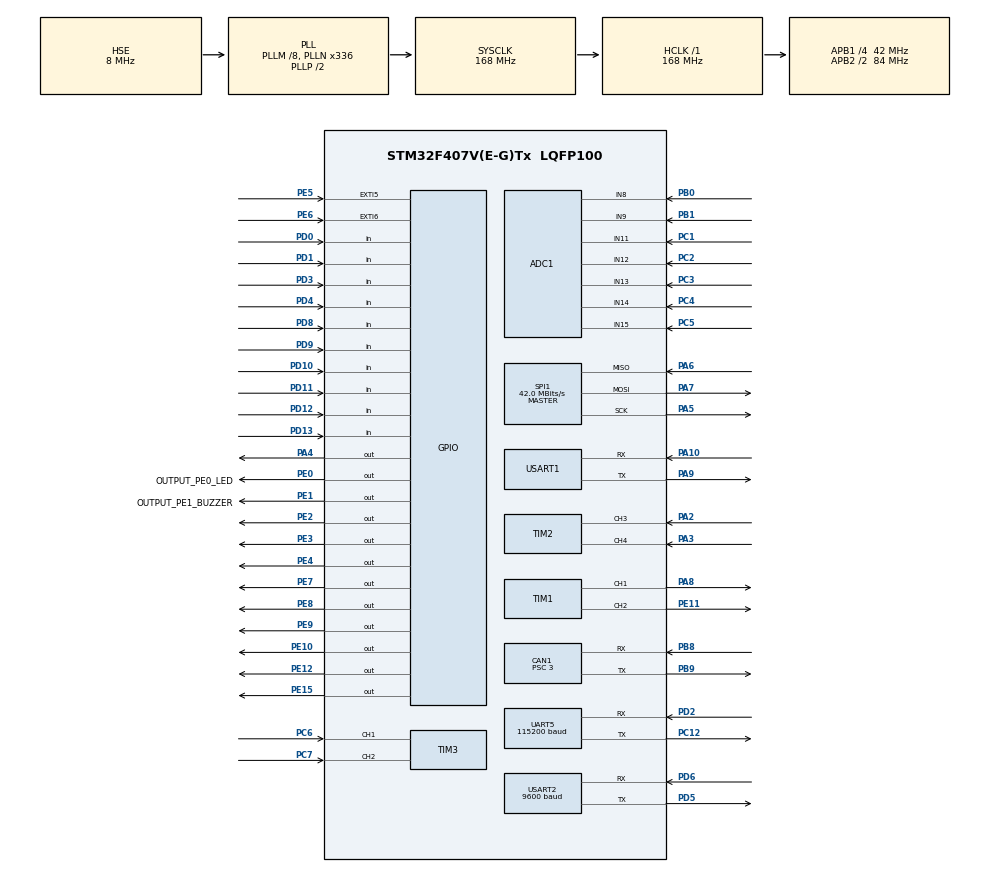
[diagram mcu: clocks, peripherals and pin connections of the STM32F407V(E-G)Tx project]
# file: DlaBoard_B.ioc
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ADC1.Channel-0\#ChannelRegularConversion=ADC_CHANNEL_8
ADC1.NbrOfConversionFlag=1
ADC1.Rank-0\#ChannelRegularConversion=1
ADC1.SamplingTime-0\#ChannelRegularConversion=ADC_SAMPLETIME_3CYCLES
ADC1.master=1
CAN1.ABOM=ENABLE
CAN1.AWUM=DISABLE
CAN1.BS1=CAN_BS1_11TQ
CAN1.BS2=CAN_BS2_2TQ
CAN1.CalculateBaudRate=1000000
CAN1.CalculateTimeBit=1000
CAN1.CalculateTimeQuantum=71.42857142857143
CAN1.NART=ENABLE
CAN1.Prescaler=3
CAN1.TTCM=DISABLE
Mcu.Family=STM32F4
Mcu.Name=STM32F407V(E-G)Tx
Mcu.Package=LQFP100
NVIC.PriorityGroup=NVIC_PRIORITYGROUP_4
PA0-WKUP.Signal=S_TIM2_CH1_ETR
PA1.Signal=S_TIM2_CH2
PA10.Mode=Asynchronous
PA10.Signal=USART1_RX
PA13.Signal=SYS_JTMS-SWDIO
PA14.Signal=SYS_JTCK-SWCLK
PA2.Signal=S_TIM2_CH3
PA3.Signal=S_TIM2_CH4
PA4.Signal=GPIO_Output
PA5.Mode=Full_Duplex_Master
PA5.Signal=SPI1_SCK
PA6.Mode=Full_Duplex_Master
PA6.Signal=SPI1_MISO
PA7.Mode=Full_Duplex_Master
PA7.Signal=SPI1_MOSI
PA8.Signal=S_TIM1_CH1
PA9.Mode=Asynchronous
PA9.Signal=USART1_TX
PB0.Signal=ADCx_IN8
PB1.Signal=ADCx_IN9
PB10.Signal=I2C2_SCL
PB11.Signal=I2C2_SDA
PB12.Signal=SPI2_NSS
PB13.Signal=SPI2_SCK
PB14.Signal=SPI2_MISO
PB15.Signal=SPI2_MOSI
PB6.Signal=I2C1_SCL
PB7.Signal=I2C1_SDA
PB8.Mode=CAN_Activate
PB8.Signal=CAN1_RX
PB9.Mode=CAN_Activate
PB9.Signal=CAN1_TX
PC1.Signal=ADCx_IN11
PC10.Signal=USART3_TX
PC11.Signal=USART3_RX
PC12.Mode=Asynchronous
PC12.Signal=UART5_TX
PC14-OSC32_IN.Signal=RCC_OSC32_IN
PC15-OSC32_OUT.Signal=RCC_OSC32_OUT
PC2.Signal=ADCx_IN12
PC3.Signal=ADCx_IN13
PC4.Signal=ADCx_IN14
PC5.Signal=ADCx_IN15
PC6.Signal=S_TIM3_CH1
PC7.Signal=S_TIM3_CH2
PC8.Signal=S_TIM3_CH3
PC9.Signal=S_TIM3_CH4
PD0.Signal=GPIO_Input
PD1.Signal=GPIO_Input
PD10.Signal=GPIO_Input
PD11.Signal=GPIO_Input
PD12.Signal=GPIO_Input
PD13.Signal=GPIO_Input
PD14.Signal=S_TIM4_CH3
PD15.Signal=S_TIM4_CH4
PD2.Mode=Asynchronous
PD2.Signal=UART5_RX
PD3.Signal=GPIO_Input
PD4.Signal=GPIO_Input
PD5.Mode=Asynchronous
PD5.Signal=USART2_TX
PD6.Mode=Asynchronous
PD6.Signal=USART2_RX
PD8.Signal=GPIO_Input
PD9.Signal=GPIO_Input
PE0.GPIO_Label=OUTPUT_PE0_LED
PE0.PinState=GPIO_PIN_SET
PE0.Signal=GPIO_Output
PE1.GPIO_Label=OUTPUT_PE1_BUZZER
PE1.PinState=GPIO_PIN_RESET
PE1.Signal=GPIO_Output
PE10.Signal=GPIO_Output
PE11.Signal=S_TIM1_CH2
PE12.Signal=GPIO_Output
PE13.Signal=S_TIM1_CH3
PE14.Signal=S_TIM1_CH4
PE15.Signal=GPIO_Output
PE2.Signal=GPIO_Output
PE3.Signal=GPIO_Output
PE4.Signal=GPIO_Output
PE5.Signal=GPXTI5
PE6.Signal=GPXTI6
PE7.Signal=GPIO_Output
PE8.Signal=GPIO_Output
PE9.Signal=GPIO_Output
PH0-OSC_IN.Mode=HSE-External-Oscillator
PH0-OSC_IN.Signal=RCC_OSC_IN
PH1-OSC_OUT.Mode=HSE-External-Oscillator
PH1-OSC_OUT.Signal=RCC_OSC_OUT
ProjectManager.HeapSize=0x200
ProjectManager.StackSize=0x400
ProjectManager.TargetToolchain=STM32CubeIDE
RCC.48MHZClocksFreq_Value=84000000
RCC.AHBFreq_Value=168000000
RCC.APB1CLKDivider=RCC_HCLK_DIV4
RCC.APB1Freq_Value=42000000
RCC.APB1TimFreq_Value=84000000
RCC.APB2CLKDivider=RCC_HCLK_DIV2
RCC.APB2Freq_Value=84000000
RCC.APB2TimFreq_Value=168000000
RCC.CortexFreq_Value=168000000
RCC.HCLKFreq_Value=168000000
RCC.HSE_VALUE=8000000
RCC.HSI_VALUE=16000000
RCC.LSE_VALUE=32768
RCC.PLLM=8
RCC.PLLN=336
RCC.PLLSourceVirtual=RCC_PLLSOURCE_HSE
RCC.SYSCLKFreq_VALUE=168000000
RCC.SYSCLKSource=RCC_SYSCLKSOURCE_PLLCLK
RCC.VCOOutputFreq_Value=336000000
SH.ADCx_IN11.0=ADC1_IN11,IN11
SH.ADCx_IN12.0=ADC1_IN12,IN12
SH.ADCx_IN13.0=ADC1_IN13,IN13
SH.ADCx_IN14.0=ADC1_IN14,IN14
SH.ADCx_IN15.0=ADC1_IN15,IN15
SH.ADCx_IN8.0=ADC1_IN8,IN8
SH.ADCx_IN9.0=ADC1_IN9,IN9
SH.S_TIM1_CH1.0=TIM1_CH1,PWM Generation1 CH1
SH.S_TIM1_CH2.0=TIM1_CH2,PWM Generation2 CH2
SH.S_TIM1_CH3.0=TIM1_CH3
SH.S_TIM1_CH4.0=TIM1_CH4
SH.S_TIM2_CH1_ETR.0=TIM2_CH1
SH.S_TIM2_CH2.0=TIM2_CH2
SH.S_TIM2_CH3.0=TIM2_CH3,Input_Capture3_from_TI3
SH.S_TIM2_CH4.0=TIM2_CH4,Input_Capture4_from_TI4
SH.S_TIM3_CH1.0=TIM3_CH1,Input_Capture1_from_TI1
SH.S_TIM3_CH2.0=TIM3_CH2,Input_Capture2_from_TI2
SH.S_TIM3_CH3.0=TIM3_CH3
SH.S_TIM3_CH4.0=TIM3_CH4
SH.S_TIM4_CH3.0=TIM4_CH3
SH.S_TIM4_CH4.0=TIM4_CH4
SPI1.BaudRatePrescaler=SPI_BAUDRATEPRESCALER_2
SPI1.CalculateBaudRate=42.0 MBits/s
SPI1.Direction=SPI_DIRECTION_2LINES
SPI1.Mode=SPI_MODE_MASTER
SPI1.VirtualType=VM_MASTER
TIM1.Channel-PWM\ Generation1\ CH1=TIM_CHANNEL_1
TIM1.Channel-PWM\ Generation2\ CH2=TIM_CHANNEL_2
TIM2.Channel-Input_Capture3_from_TI3=TIM_CHANNEL_3
TIM2.Channel-Input_Capture4_from_TI4=TIM_CHANNEL_4
TIM3.Channel-Input_Capture1_from_TI1=TIM_CHANNEL_1
TIM3.Channel-Input_Capture2_from_TI2=TIM_CHANNEL_2
UART5.BaudRate=115200
UART5.VirtualMode=Asynchronous
USART1.VirtualMode=VM_ASYNC
USART2.BaudRate=9600
USART2.VirtualMode=VM_ASYNC
VP_TIM1_VS_ClockSourceINT.Mode=Internal
VP_TIM2_VS_ClockSourceINT.Mode=Internal
VP_TIM3_VS_ClockSourceINT.Mode=Internal
board=custom

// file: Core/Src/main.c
/* USER CODE BEGIN Header */
/**
  ******************************************************************************
  * @file           : main.c
  * @brief          : Main program body
  ******************************************************************************
  * @attention
  *
  * Copyright (c) 2026 STMicroelectronics.
  * All rights reserved.
  *
  * This software is licensed under terms that can be found in the LICENSE file
  * in the root directory of this software component.
  * If no LICENSE file comes with this software, it is provided AS-IS.
  *
  ******************************************************************************
  */
/* USER CODE END Header */
#include "main.h"

/* USER CODE BEGIN Includes */
#include "dla_cart_app.h"
#include "board_inputs.h"
#include "selftest.h"
/* USER CODE END Includes */

ADC_HandleTypeDef hadc1;

CAN_HandleTypeDef hcan1;

SPI_HandleTypeDef hspi1;

TIM_HandleTypeDef htim1;
TIM_HandleTypeDef htim2;
TIM_HandleTypeDef htim3;

UART_HandleTypeDef huart5;
UART_HandleTypeDef huart1;
UART_HandleTypeDef huart2;

void SystemClock_Config(void);
static void MX_GPIO_Init(void);
static void MX_ADC1_Init(void);
static void MX_CAN1_Init(void);
static void MX_TIM1_Init(void);
static void MX_SPI1_Init(void);
static void MX_USART1_UART_Init(void);
static void MX_USART2_UART_Init(void);
static void MX_TIM3_Init(void);
static void MX_TIM2_Init(void);
static void MX_UART5_Init(void);

/* USER CODE BEGIN 0 */

/* 不再经 USART1 打印调试；保留桩避免误用 printf 时走 syscalls 出问题 */
int __io_putchar(int ch)
{
  (void)ch;
  return ch;
}

/* USER CODE END 0 */

int main(void)
{

  /* MCU Configuration--------------------------------------------------------*/

  /* Reset of all peripherals, Initializes the Flash interface and the Systick. */
  HAL_Init();

  /* Configure the system clock */
  SystemClock_Config();

  /* USER CODE BEGIN SysInit */
  /* 尽早启动看门狗：这样连 MX_*_Init 失败落进 Error_Handler() 的死循环
   * 也能被咬醒。IWDG 由 LSI 驱动、和中断无关，Error_Handler 里的
   * __disable_irq() 拦不住它。超时取值与理由见 dla_cart_app.c。 */
  Board_WatchdogInit();
  /* USER CODE END SysInit */

  /* Initialize all configured peripherals */
  MX_GPIO_Init();
  MX_ADC1_Init();
  MX_CAN1_Init();
  MX_TIM1_Init();
  MX_SPI1_Init();
  MX_USART1_UART_Init();
  MX_USART2_UART_Init();
  MX_TIM3_Init();
  MX_TIM2_Init();
  MX_UART5_Init();
  /* USER CODE BEGIN 2 */
#ifdef SELFTEST_BUILD
  SelfTest_Run();   /* 自测固件入口，不返回；仅 -DSELFTEST_BUILD 时编译 */
#endif
  DlaCart_AppInit();
  /* USER CODE END 2 */

  /* Infinite loop */
  while (1)
  {

    /* USER CODE BEGIN 3 */
    DlaCart_AppLoopIteration();
  }
  /* USER CODE END 3 */
}

void SystemClock_Config(void)
{
  RCC_OscInitTypeDef RCC_OscInitStruct = {0};
  RCC_ClkInitTypeDef RCC_ClkInitStruct = {0};

  /** Configure the main internal regulator output voltage
  */
  __HAL_RCC_PWR_CLK_ENABLE();
  __HAL_PWR_VOLTAGESCALING_CONFIG(PWR_REGULATOR_VOLTAGE_SCALE1);

  /** Initializes the RCC Oscillators according to the specified parameters
  * in the RCC_OscInitTypeDef structure.
  */
  RCC_OscInitStruct.OscillatorType = RCC_OSCILLATORTYPE_HSE;
  RCC_OscInitStruct.HSEState = RCC_HSE_ON;
  RCC_OscInitStruct.PLL.PLLState = RCC_PLL_ON;
  RCC_OscInitStruct.PLL.PLLSource = RCC_PLLSOURCE_HSE;
  RCC_OscInitStruct.PLL.PLLM = 8;
  RCC_OscInitStruct.PLL.PLLN = 336;
  RCC_OscInitStruct.PLL.PLLP = RCC_PLLP_DIV2;
  RCC_OscInitStruct.PLL.PLLQ = 4;
  if (HAL_RCC_OscConfig(&RCC_OscInitStruct) != HAL_OK)
  {
    Error_Handler();
  }

  /** Initializes the CPU, AHB and APB buses clocks
  */
  RCC_ClkInitStruct.ClockType = RCC_CLOCKTYPE_HCLK|RCC_CLOCKTYPE_SYSCLK
                              |RCC_CLOCKTYPE_PCLK1|RCC_CLOCKTYPE_PCLK2;
  RCC_ClkInitStruct.SYSCLKSource = RCC_SYSCLKSOURCE_PLLCLK;
  RCC_ClkInitStruct.AHBCLKDivider = RCC_SYSCLK_DIV1;
  RCC_ClkInitStruct.APB1CLKDivider = RCC_HCLK_DIV4;
  RCC_ClkInitStruct.APB2CLKDivider = RCC_HCLK_DIV2;

  if (HAL_RCC_ClockConfig(&RCC_ClkInitStruct, FLASH_LATENCY_5) != HAL_OK)
  {
    Error_Handler();
  }
}

static void MX_ADC1_Init(void)
{

  ADC_ChannelConfTypeDef sConfig = {0};

  /** Configure the global features of the ADC (Clock, Resolution, Data Alignment and number of conversion)
  */
  hadc1.Instance = ADC1;
  hadc1.Init.ClockPrescaler = ADC_CLOCK_SYNC_PCLK_DIV4;
  hadc1.Init.Resolution = ADC_RESOLUTION_12B;
  hadc1.Init.ScanConvMode = DISABLE;
  hadc1.Init.ContinuousConvMode = DISABLE;
  hadc1.Init.DiscontinuousConvMode = DISABLE;
  hadc1.Init.ExternalTrigConvEdge = ADC_EXTERNALTRIGCONVEDGE_NONE;
  hadc1.Init.ExternalTrigConv = ADC_SOFTWARE_START;
  hadc1.Init.DataAlign = ADC_DATAALIGN_RIGHT;
  hadc1.Init.NbrOfConversion = 1;
  hadc1.Init.DMAContinuousRequests = DISABLE;
  hadc1.Init.EOCSelection = ADC_EOC_SINGLE_CONV;
  if (HAL_ADC_Init(&hadc1) != HAL_OK)
  {
    Error_Handler();
  }

  /** Configure for the selected ADC regular channel its corresponding rank in the sequencer and its sample time.
  */
  sConfig.Channel = ADC_CHANNEL_8;
  sConfig.Rank = 1;
  sConfig.SamplingTime = ADC_SAMPLETIME_3CYCLES;
  if (HAL_ADC_ConfigChannel(&hadc1, &sConfig) != HAL_OK)
  {
    Error_Handler();
  }
  /* USER CODE BEGIN ADC1_Init 2 */
  hadc1.Init.ContinuousConvMode = ENABLE;
  if (HAL_ADC_Init(&hadc1) != HAL_OK)
  {
    Error_Handler();
  }
  sConfig.Channel = ADC_CHANNEL_8;
  sConfig.Rank = 1;
  sConfig.SamplingTime = ADC_SAMPLETIME_56CYCLES;
  if (HAL_ADC_ConfigChannel(&hadc1, &sConfig) != HAL_OK)
  {
    Error_Handler();
  }
  /* USER CODE END ADC1_Init 2 */

}

static void MX_CAN1_Init(void)
{

  hcan1.Instance = CAN1;
  hcan1.Init.Prescaler = 3;
  hcan1.Init.Mode = CAN_MODE_NORMAL;
  hcan1.Init.SyncJumpWidth = CAN_SJW_1TQ;
  hcan1.Init.TimeSeg1 = CAN_BS1_11TQ;
  hcan1.Init.TimeSeg2 = CAN_BS2_2TQ;
  hcan1.Init.TimeTriggeredMode = DISABLE;
  hcan1.Init.AutoBusOff = ENABLE;
  hcan1.Init.AutoWakeUp = DISABLE;
  /*
   * NART: 一帧发不出去就丢掉，不要一直重传。
   *
   * 0x210 是 20ms 的周期性控制帧 —— 它的价值全在"新"上。开着自动重传时，
   * 总线上没有别的节点应答(驱动板掉电、接头脱开、总线短路)会让三个发送
   * 邮箱被前三帧永久占住反复重传，之后每一次 AddTxMessage 都返回 HAL_ERROR。
   * 于是司机踩下刹车、循环打包出 brake=1 的帧，**每一帧都在上线之前就被丢掉**；
   * 等总线恢复，最先发出去的还是故障那一刻锁在邮箱里的陈旧帧(比如
   * throttle=600, brake=0)。
   *
   * 关掉之后，发不出去的帧一次就作废，邮箱立刻腾给下一帧更新的命令。
   * 单帧丢失的代价：下游超时是 300ms，要连丢 15 帧才够得着，
   * 而每一帧都是完整的当前状态，不是增量。
   */
  hcan1.Init.AutoRetransmission = DISABLE;
  hcan1.Init.ReceiveFifoLocked = DISABLE;
  hcan1.Init.TransmitFifoPriority = DISABLE;
  if (HAL_CAN_Init(&hcan1) != HAL_OK)
  {
    Error_Handler();
  }
  /* USER CODE BEGIN CAN1_Init 2 */
  {
    CAN_FilterTypeDef sFilterConfig;
    sFilterConfig.FilterBank = 0;
    sFilterConfig.FilterMode = CAN_FILTERMODE_IDMASK;
    sFilterConfig.FilterScale = CAN_FILTERSCALE_32BIT;
    sFilterConfig.FilterIdHigh = 0x0000;
    sFilterConfig.FilterIdLow = 0x0000;
    sFilterConfig.FilterMaskIdHigh = 0x0000;
    sFilterConfig.FilterMaskIdLow = 0x0000;
    sFilterConfig.FilterFIFOAssignment = CAN_RX_FIFO0;
    sFilterConfig.FilterActivation = ENABLE;
    sFilterConfig.SlaveStartFilterBank = 14;
    if (HAL_CAN_ConfigFilter(&hcan1, &sFilterConfig) != HAL_OK)
    {
      Error_Handler();
    }
    if (HAL_CAN_Start(&hcan1) != HAL_OK)
    {
      Error_Handler();
    }
  }
  /* USER CODE END CAN1_Init 2 */

}

static void MX_SPI1_Init(void)
{

  /* SPI1 parameter configuration*/
  hspi1.Instance = SPI1;
  hspi1.Init.Mode = SPI_MODE_MASTER;
  hspi1.Init.Direction = SPI_DIRECTION_2LINES;
  hspi1.Init.DataSize = SPI_DATASIZE_8BIT;
  hspi1.Init.CLKPolarity = SPI_POLARITY_LOW;
  hspi1.Init.CLKPhase = SPI_PHASE_1EDGE;
  hspi1.Init.NSS = SPI_NSS_SOFT;
  hspi1.Init.BaudRatePrescaler = SPI_BAUDRATEPRESCALER_2;
  hspi1.Init.FirstBit = SPI_FIRSTBIT_MSB;
  hspi1.Init.TIMode = SPI_TIMODE_DISABLE;
  hspi1.Init.CRCCalculation = SPI_CRCCALCULATION_DISABLE;
  hspi1.Init.CRCPolynomial = 10;
  if (HAL_SPI_Init(&hspi1) != HAL_OK)
  {
    Error_Handler();
  }

}

static void MX_TIM1_Init(void)
{

  TIM_ClockConfigTypeDef sClockSourceConfig = {0};
  TIM_MasterConfigTypeDef sMasterConfig = {0};
  TIM_OC_InitTypeDef sConfigOC = {0};
  TIM_BreakDeadTimeConfigTypeDef sBreakDeadTimeConfig = {0};

  htim1.Instance = TIM1;
  htim1.Init.Prescaler = 0;
  htim1.Init.CounterMode = TIM_COUNTERMODE_UP;
  htim1.Init.Period = 65535;
  htim1.Init.ClockDivision = TIM_CLOCKDIVISION_DIV1;
  htim1.Init.RepetitionCounter = 0;
  htim1.Init.AutoReloadPreload = TIM_AUTORELOAD_PRELOAD_DISABLE;
  if (HAL_TIM_Base_Init(&htim1) != HAL_OK)
  {
    Error_Handler();
  }
  sClockSourceConfig.ClockSource = TIM_CLOCKSOURCE_INTERNAL;
  if (HAL_TIM_ConfigClockSource(&htim1, &sClockSourceConfig) != HAL_OK)
  {
    Error_Handler();
  }
  if (HAL_TIM_PWM_Init(&htim1) != HAL_OK)
  {
    Error_Handler();
  }
  sMasterConfig.MasterOutputTrigger = TIM_TRGO_RESET;
  sMasterConfig.MasterSlaveMode = TIM_MASTERSLAVEMODE_DISABLE;
  if (HAL_TIMEx_MasterConfigSynchronization(&htim1, &sMasterConfig) != HAL_OK)
  {
    Error_Handler();
  }
  sConfigOC.OCMode = TIM_OCMODE_PWM1;
  sConfigOC.Pulse = 0;
  sConfigOC.OCPolarity = TIM_OCPOLARITY_HIGH;
  sConfigOC.OCNPolarity = TIM_OCNPOLARITY_HIGH;
  sConfigOC.OCFastMode = TIM_OCFAST_DISABLE;
  sConfigOC.OCIdleState = TIM_OCIDLESTATE_RESET;
  sConfigOC.OCNIdleState = TIM_OCNIDLESTATE_RESET;
  if (HAL_TIM_PWM_ConfigChannel(&htim1, &sConfigOC, TIM_CHANNEL_1) != HAL_OK)
  {
    Error_Handler();
  }
  if (HAL_TIM_PWM_ConfigChannel(&htim1, &sConfigOC, TIM_CHANNEL_2) != HAL_OK)
  {
    Error_Handler();
  }
  sBreakDeadTimeConfig.OffStateRunMode = TIM_OSSR_DISABLE;
  sBreakDeadTimeConfig.OffStateIDLEMode = TIM_OSSI_DISABLE;
  sBreakDeadTimeConfig.LockLevel = TIM_LOCKLEVEL_OFF;
  sBreakDeadTimeConfig.DeadTime = 0;
  sBreakDeadTimeConfig.BreakState = TIM_BREAK_DISABLE;
  sBreakDeadTimeConfig.BreakPolarity = TIM_BREAKPOLARITY_HIGH;
  sBreakDeadTimeConfig.AutomaticOutput = TIM_AUTOMATICOUTPUT_DISABLE;
  if (HAL_TIMEx_ConfigBreakDeadTime(&htim1, &sBreakDeadTimeConfig) != HAL_OK)
  {
    Error_Handler();
  }
  HAL_TIM_MspPostInit(&htim1);

}

static void MX_TIM2_Init(void)
{

  TIM_ClockConfigTypeDef sClockSourceConfig = {0};
  TIM_MasterConfigTypeDef sMasterConfig = {0};
  TIM_IC_InitTypeDef sConfigIC = {0};

  htim2.Instance = TIM2;
  htim2.Init.Prescaler = 0;
  htim2.Init.CounterMode = TIM_COUNTERMODE_UP;
  htim2.Init.Period = 4294967295;
  htim2.Init.ClockDivision = TIM_CLOCKDIVISION_DIV1;
  htim2.Init.AutoReloadPreload = TIM_AUTORELOAD_PRELOAD_DISABLE;
  if (HAL_TIM_Base_Init(&htim2) != HAL_OK)
  {
    Error_Handler();
  }
  sClockSourceConfig.ClockSource = TIM_CLOCKSOURCE_INTERNAL;
  if (HAL_TIM_ConfigClockSource(&htim2, &sClockSourceConfig) != HAL_OK)
  {
    Error_Handler();
  }
  if (HAL_TIM_IC_Init(&htim2) != HAL_OK)
  {
    Error_Handler();
  }
  sMasterConfig.MasterOutputTrigger = TIM_TRGO_RESET;
  sMasterConfig.MasterSlaveMode = TIM_MASTERSLAVEMODE_DISABLE;
  if (HAL_TIMEx_MasterConfigSynchronization(&htim2, &sMasterConfig) != HAL_OK)
  {
    Error_Handler();
  }
  sConfigIC.ICPolarity = TIM_INPUTCHANNELPOLARITY_RISING;
  sConfigIC.ICSelection = TIM_ICSELECTION_DIRECTTI;
  sConfigIC.ICPrescaler = TIM_ICPSC_DIV1;
  sConfigIC.ICFilter = 0;
  if (HAL_TIM_IC_ConfigChannel(&htim2, &sConfigIC, TIM_CHANNEL_3) != HAL_OK)
  {
    Error_Handler();
  }
  if (HAL_TIM_IC_ConfigChannel(&htim2, &sConfigIC, TIM_CHANNEL_4) != HAL_OK)
  {
    Error_Handler();
  }

}

static void MX_TIM3_Init(void)
{

  TIM_ClockConfigTypeDef sClockSourceConfig = {0};
  TIM_MasterConfigTypeDef sMasterConfig = {0};
  TIM_IC_InitTypeDef sConfigIC = {0};

  htim3.Instance = TIM3;
  htim3.Init.Prescaler = 0;
  htim3.Init.CounterMode = TIM_COUNTERMODE_UP;
  htim3.Init.Period = 65535;
  htim3.Init.ClockDivision = TIM_CLOCKDIVISION_DIV1;
  htim3.Init.AutoReloadPreload = TIM_AUTORELOAD_PRELOAD_DISABLE;
  if (HAL_TIM_Base_Init(&htim3) != HAL_OK)
  {
    Error_Handler();
  }
  sClockSourceConfig.ClockSource = TIM_CLOCKSOURCE_INTERNAL;
  if (HAL_TIM_ConfigClockSource(&htim3, &sClockSourceConfig) != HAL_OK)
  {
    Error_Handler();
  }
  if (HAL_TIM_IC_Init(&htim3) != HAL_OK)
  {
    Error_Handler();
  }
  sMasterConfig.MasterOutputTrigger = TIM_TRGO_RESET;
  sMasterConfig.MasterSlaveMode = TIM_MASTERSLAVEMODE_DISABLE;
  if (HAL_TIMEx_MasterConfigSynchronization(&htim3, &sMasterConfig) != HAL_OK)
  {
    Error_Handler();
  }
  sConfigIC.ICPolarity = TIM_INPUTCHANNELPOLARITY_RISING;
  sConfigIC.ICSelection = TIM_ICSELECTION_DIRECTTI;
  sConfigIC.ICPrescaler = TIM_ICPSC_DIV1;
  sConfigIC.ICFilter = 0;
  if (HAL_TIM_IC_ConfigChannel(&htim3, &sConfigIC, TIM_CHANNEL_1) != HAL_OK)
  {
    Error_Handler();
  }
  if (HAL_TIM_IC_ConfigChannel(&htim3, &sConfigIC, TIM_CHANNEL_2) != HAL_OK)
  {
    Error_Handler();
  }

}

static void MX_UART5_Init(void)
{

  huart5.Instance = UART5;
  huart5.Init.BaudRate = 115200;
  huart5.Init.WordLength = UART_WORDLENGTH_8B;
  huart5.Init.StopBits = UART_STOPBITS_1;
  huart5.Init.Parity = UART_PARITY_NONE;
  huart5.Init.Mode = UART_MODE_TX_RX;
  huart5.Init.HwFlowCtl = UART_HWCONTROL_NONE;
  huart5.Init.OverSampling = UART_OVERSAMPLING_16;
  if (HAL_UART_Init(&huart5) != HAL_OK)
  {
    Error_Handler();
  }

}

static void MX_USART1_UART_Init(void)
{

  huart1.Instance = USART1;
  huart1.Init.BaudRate = 115200;
  huart1.Init.WordLength = UART_WORDLENGTH_8B;
  huart1.Init.StopBits = UART_STOPBITS_1;
  huart1.Init.Parity = UART_PARITY_NONE;
  huart1.Init.Mode = UART_MODE_TX_RX;
  huart1.Init.HwFlowCtl = UART_HWCONTROL_NONE;
  huart1.Init.OverSampling = UART_OVERSAMPLING_16;
  if (HAL_UART_Init(&huart1) != HAL_OK)
  {
    Error_Handler();
  }

}

static void MX_USART2_UART_Init(void)
{

  huart2.Instance = USART2;
  huart2.Init.BaudRate = 9600;
  huart2.Init.WordLength = UART_WORDLENGTH_8B;
  huart2.Init.StopBits = UART_STOPBITS_1;
  huart2.Init.Parity = UART_PARITY_NONE;
  huart2.Init.Mode = UART_MODE_TX_RX;
  huart2.Init.HwFlowCtl = UART_HWCONTROL_NONE;
  huart2.Init.OverSampling = UART_OVERSAMPLING_16;
  if (HAL_UART_Init(&huart2) != HAL_OK)
  {
    Error_Handler();
  }

}

static void MX_GPIO_Init(void)
{
  GPIO_InitTypeDef GPIO_InitStruct = {0};

  /* GPIO Ports Clock Enable */
  __HAL_RCC_GPIOE_CLK_ENABLE();
  __HAL_RCC_GPIOC_CLK_ENABLE();
  __HAL_RCC_GPIOH_CLK_ENABLE();
  __HAL_RCC_GPIOA_CLK_ENABLE();
  __HAL_RCC_GPIOB_CLK_ENABLE();
  __HAL_RCC_GPIOD_CLK_ENABLE();

  /*Configure GPIO pin Output Level */
  HAL_GPIO_WritePin(GPIOE, GPIO_PIN_2|GPIO_PIN_3|GPIO_PIN_4|GPIO_PIN_7
                          |GPIO_PIN_8|GPIO_PIN_9|GPIO_PIN_10|GPIO_PIN_12
                          |GPIO_PIN_15|OUTPUT_PE1_BUZZER_Pin, GPIO_PIN_RESET);

  /*Configure GPIO pin Output Level */
  HAL_GPIO_WritePin(GPIOA, GPIO_PIN_4, GPIO_PIN_RESET);

  /*Configure GPIO pin Output Level */
  HAL_GPIO_WritePin(OUTPUT_PE0_LED_GPIO_Port, OUTPUT_PE0_LED_Pin, GPIO_PIN_SET);

  /*Configure GPIO pins : PE2 PE3 PE4 PE7
                           PE8 PE9 PE10 PE12
                           PE15 OUTPUT_PE0_LED_Pin OUTPUT_PE1_BUZZER_Pin */
  GPIO_InitStruct.Pin = GPIO_PIN_2|GPIO_PIN_3|GPIO_PIN_4|GPIO_PIN_7
                          |GPIO_PIN_8|GPIO_PIN_9|GPIO_PIN_10|GPIO_PIN_12
                          |GPIO_PIN_15|OUTPUT_PE0_LED_Pin|OUTPUT_PE1_BUZZER_Pin;
  GPIO_InitStruct.Mode = GPIO_MODE_OUTPUT_PP;
  GPIO_InitStruct.Pull = GPIO_NOPULL;
  GPIO_InitStruct.Speed = GPIO_SPEED_FREQ_LOW;
  HAL_GPIO_Init(GPIOE, &GPIO_InitStruct);

  /*Configure GPIO pins : PE5 PE6 */
  GPIO_InitStruct.Pin = GPIO_PIN_5|GPIO_PIN_6;
  GPIO_InitStruct.Mode = GPIO_MODE_IT_RISING;
  GPIO_InitStruct.Pull = GPIO_NOPULL;
  HAL_GPIO_Init(GPIOE, &GPIO_InitStruct);

  /*Configure GPIO pin : PA4 */
  GPIO_InitStruct.Pin = GPIO_PIN_4;
  GPIO_InitStruct.Mode = GPIO_MODE_OUTPUT_PP;
  GPIO_InitStruct.Pull = GPIO_NOPULL;
  GPIO_InitStruct.Speed = GPIO_SPEED_FREQ_LOW;
  HAL_GPIO_Init(GPIOA, &GPIO_InitStruct);

  /*Configure GPIO pins : PB10 PB11 */
  GPIO_InitStruct.Pin = GPIO_PIN_10|GPIO_PIN_11;
  GPIO_InitStruct.Mode = GPIO_MODE_AF_OD;
  GPIO_InitStruct.Pull = GPIO_NOPULL;
  GPIO_InitStruct.Speed = GPIO_SPEED_FREQ_VERY_HIGH;
  GPIO_InitStruct.Alternate = GPIO_AF4_I2C2;
  HAL_GPIO_Init(GPIOB, &GPIO_InitStruct);

  /*Configure GPIO pins : PB12 PB13 PB14 PB15 */
  GPIO_InitStruct.Pin = GPIO_PIN_12|GPIO_PIN_13|GPIO_PIN_14|GPIO_PIN_15;
  GPIO_InitStruct.Mode = GPIO_MODE_AF_PP;
  GPIO_InitStruct.Pull = GPIO_NOPULL;
  GPIO_InitStruct.Speed = GPIO_SPEED_FREQ_VERY_HIGH;
  GPIO_InitStruct.Alternate = GPIO_AF5_SPI2;
  HAL_GPIO_Init(GPIOB, &GPIO_InitStruct);

  /*Configure GPIO pins : PD8 PD9 PD10 PD11
                           PD12 PD13 PD0 PD1
                           PD3 PD4 */
  GPIO_InitStruct.Pin = GPIO_PIN_8|GPIO_PIN_9|GPIO_PIN_10|GPIO_PIN_11
                          |GPIO_PIN_12|GPIO_PIN_13|GPIO_PIN_0|GPIO_PIN_1
                          |GPIO_PIN_3|GPIO_PIN_4;
  GPIO_InitStruct.Mode = GPIO_MODE_INPUT;
  GPIO_InitStruct.Pull = GPIO_NOPULL;
  HAL_GPIO_Init(GPIOD, &GPIO_InitStruct);

  /*Configure GPIO pins : PD14 PD15 */
  GPIO_InitStruct.Pin = GPIO_PIN_14|GPIO_PIN_15;
  GPIO_InitStruct.Mode = GPIO_MODE_AF_PP;
  GPIO_InitStruct.Pull = GPIO_NOPULL;
  GPIO_InitStruct.Speed = GPIO_SPEED_FREQ_LOW;
  GPIO_InitStruct.Alternate = GPIO_AF2_TIM4;
  HAL_GPIO_Init(GPIOD, &GPIO_InitStruct);

  /*Configure GPIO pins : PC10 PC11 */
  GPIO_InitStruct.Pin = GPIO_PIN_10|GPIO_PIN_11;
  GPIO_InitStruct.Mode = GPIO_MODE_AF_PP;
  GPIO_InitStruct.Pull = GPIO_NOPULL;
  GPIO_InitStruct.Speed = GPIO_SPEED_FREQ_VERY_HIGH;
  GPIO_InitStruct.Alternate = GPIO_AF7_USART3;
  HAL_GPIO_Init(GPIOC, &GPIO_InitStruct);

  /*Configure GPIO pins : PB6 PB7 */
  GPIO_InitStruct.Pin = GPIO_PIN_6|GPIO_PIN_7;
  GPIO_InitStruct.Mode = GPIO_MODE_AF_OD;
  GPIO_InitStruct.Pull = GPIO_NOPULL;
  GPIO_InitStruct.Speed = GPIO_SPEED_FREQ_VERY_HIGH;
  GPIO_InitStruct.Alternate = GPIO_AF4_I2C1;
  HAL_GPIO_Init(GPIOB, &GPIO_InitStruct);

  /* USER CODE BEGIN MX_GPIO_Init_2 */
  /* IMU CS（PA4）空闲高电平；Cube 默认写入了 RESET，在此拉高 */
  HAL_GPIO_WritePin(GPIOA, GPIO_PIN_4, GPIO_PIN_SET);
  /* 刹车踏板/开关：PE2、PE3 改为上拉输入（按下为低） */
  GPIO_InitStruct.Pin = GPIO_PIN_2 | GPIO_PIN_3;
  GPIO_InitStruct.Mode = GPIO_MODE_INPUT;
  GPIO_InitStruct.Pull = GPIO_PULLUP;
  HAL_GPIO_Init(GPIOE, &GPIO_InitStruct);
  /* CN22 / INPUT_PD10: vehicle enable switch, active low. */
  GPIO_InitStruct.Pin = GPIO_PIN_10;
  GPIO_InitStruct.Mode = GPIO_MODE_INPUT;
  GPIO_InitStruct.Pull = GPIO_PULLUP;
  HAL_GPIO_Init(GPIOD, &GPIO_InitStruct);
  /* PRND 四路档位开关(PD0/PD1/PD3/PD4)：按下接地为低，需要上拉。
   * ! board_inputs.h 一直写着"Cube 中配置为 GPIOD 上拉输入"，而上面 Cube
   *   生成的那一段把 PD0/1/3/4 和 PD8..PD13 一起配成了 GPIO_NOPULL ——
   *   **头文件里说的那个上拉不存在**，四个针脚是浮空的。任何按审计头文件
   *   的人都会得出"这里没问题"的结论。浮空输入在车用线束里读低 50ms 就足以
   *   触发一次换挡，而其中一个档位正是 AUTO 上电使能的前提条件。 */
  GPIO_InitStruct.Pin = GEAR_P_Pin | GEAR_R_Pin | GEAR_N_Pin | GEAR_D_Pin;
  GPIO_InitStruct.Mode = GPIO_MODE_INPUT;
  GPIO_InitStruct.Pull = GPIO_PULLUP;
  HAL_GPIO_Init(GEAR_SW_GPIO_Port, &GPIO_InitStruct);
  /* USER CODE END MX_GPIO_Init_2 */
}

void Error_Handler(void)
{
  __disable_irq();
  while (1)
  {
  }
}
